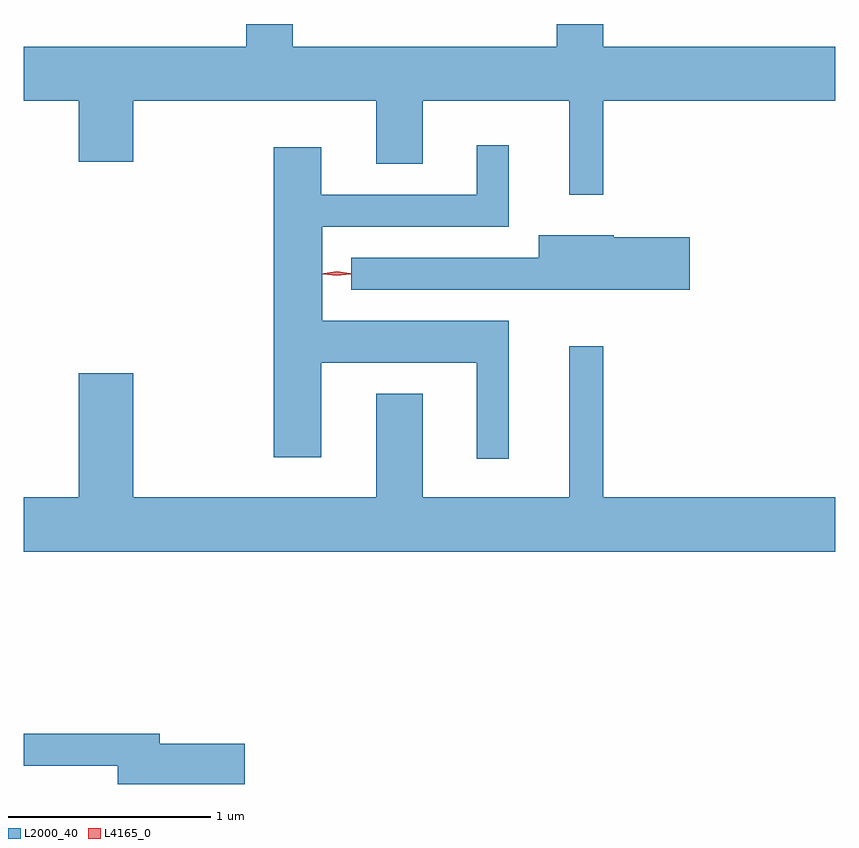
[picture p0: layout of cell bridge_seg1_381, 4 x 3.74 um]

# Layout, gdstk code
import gdstk
lib = gdstk.Library(unit=1e-6, precision=1e-09)
def P(c, l, *ps):  # polygons
    for p in ps: c.add(gdstk.Polygon(p, *l))
L2000_40 = (2000, 40)
L4165_0 = (4165, 0)

bridge_seg1_381 = lib.new_cell('bridge_seg1_381')
P(bridge_seg1_381, L2000_40, [(595.749,944.355),(595.521,944.355),(595.521,944.244),(594.423,944.244),(594.423,943.976),(594.696,943.976),(594.696,943.676),(594.964,943.676),(594.964,943.976),(596.161,943.976),(596.161,943.666),(596.389,943.666),(596.389,943.976),(597.111,943.976),(597.111,943.513),(597.279,943.513),(597.279,943.976),(598.423,943.976),(598.423,944.244),(597.279,944.244),(597.279,944.355),(597.051,944.355),(597.051,944.244),(595.749,944.244)],
  [(596.814,942.894),(595.894,942.894),(595.894,943.356),(596.814,943.356),(596.814,943.758),(596.656,943.758),(596.656,943.514),(595.889,943.514),(595.889,943.749),(595.656,943.749),(595.656,942.221),(595.889,942.221),(595.889,942.686),(596.656,942.686),(596.656,942.213),(596.814,942.213)],
  [(597.704,943.304),(597.33,943.304),(597.33,943.314),(596.961,943.314),(596.961,943.204),(596.038,943.204),(596.038,943.046),(597.704,943.046)],
  [(598.423,942.024),(597.279,942.024),(597.279,942.768),(597.111,942.768),(597.111,942.024),(596.389,942.024),(596.389,942.534),(596.161,942.534),(596.161,942.024),(594.964,942.024),(594.964,942.634),(594.696,942.634),(594.696,942.024),(594.423,942.024),(594.423,941.756),(598.423,941.756)],
  [(595.514,940.809),(595.094,940.809),(595.094,940.859),(594.423,940.859),(594.423,940.701),(594.886,940.701),(594.886,940.611),(595.514,940.611)])
P(bridge_seg1_381, L4165_0, [(595.967,943.114),(595.898,943.123),(595.897,943.124),(595.898,943.124),(595.967,943.134),(596.036,943.124),(596.036,943.124),(596.036,943.123)],
  [(595.966,943.116),(595.901,943.127),(595.9,943.128),(595.901,943.128),(595.967,943.136),(596.032,943.126),(596.033,943.125),(596.032,943.125)])

lib.write_gds('bridge_seg1_381.gds')
